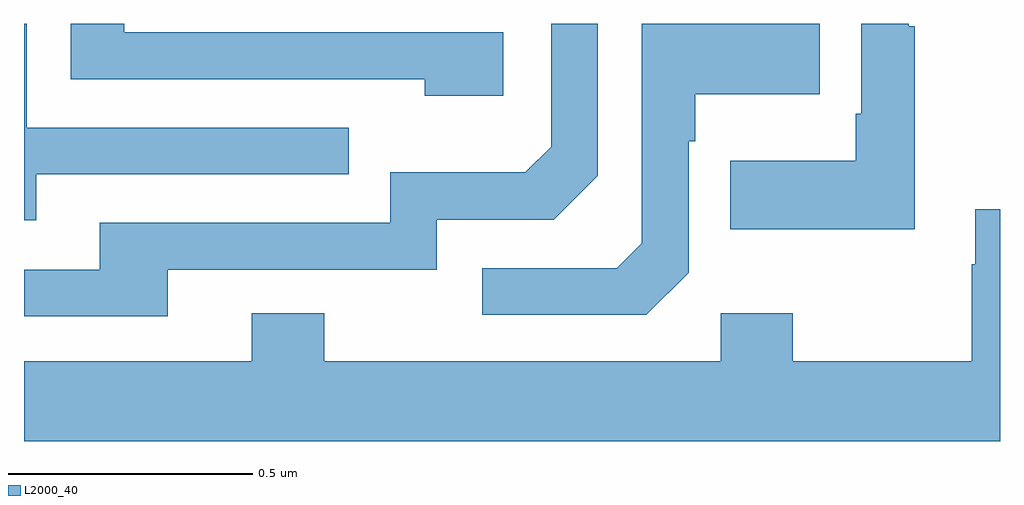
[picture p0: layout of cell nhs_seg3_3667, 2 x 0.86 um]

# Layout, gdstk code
import gdstk
lib = gdstk.Library(unit=1e-6, precision=1e-09)
def P(c, l, *ps):  # polygons
    for p in ps: c.add(gdstk.Polygon(p, *l))
L2000_40 = (2000, 40)

nhs_seg3_3667 = lib.new_cell('nhs_seg3_3667')
P(nhs_seg3_3667, L2000_40, [(156.982,740.382),(156.205,740.382),(156.205,740.4),(156.096,740.4),(156.096,740.286),(156.821,740.286),(156.821,740.252),(156.982,740.252)],
  [(157.362,739.89),(157.362,740.159),(157.375,740.159),(157.375,740.255),(157.631,740.255),(157.631,740.4),(157.266,740.4),(157.266,739.95),(157.215,739.899),(156.939,739.899),(156.939,739.803),(157.275,739.803)],
  [(156.295,739.896),(156.846,739.896),(156.846,739.998),(157.086,739.998),(157.176,740.088),(157.176,740.4),(157.08,740.4),(157.08,740.148),(157.027,740.095),(156.75,740.095),(156.75,739.992),(156.155,739.992),(156.155,739.896),(156,739.896),(156,739.8),(156.295,739.8)],
  [(157.825,740.395),(157.813,740.395),(157.813,740.4),(157.716,740.4),(157.716,740.215),(157.704,740.215),(157.704,740.119),(157.447,740.119),(157.447,739.979),(157.825,739.979)],
  [(156.025,740.091),(156.665,740.091),(156.665,740.187),(156.006,740.187),(156.006,740.4),(156,740.4),(156,739.997),(156.025,739.997)],
  [(158,740.02),(157.949,740.02),(157.949,739.907),(157.942,739.907),(157.942,739.708),(157.575,739.708),(157.575,739.807),(157.428,739.807),(157.428,739.708),(156.615,739.708),(156.615,739.807),(156.467,739.807),(156.467,739.708),(156,739.708),(156,739.544),(158,739.544)])

lib.write_gds('nhs_seg3_3667.gds')
